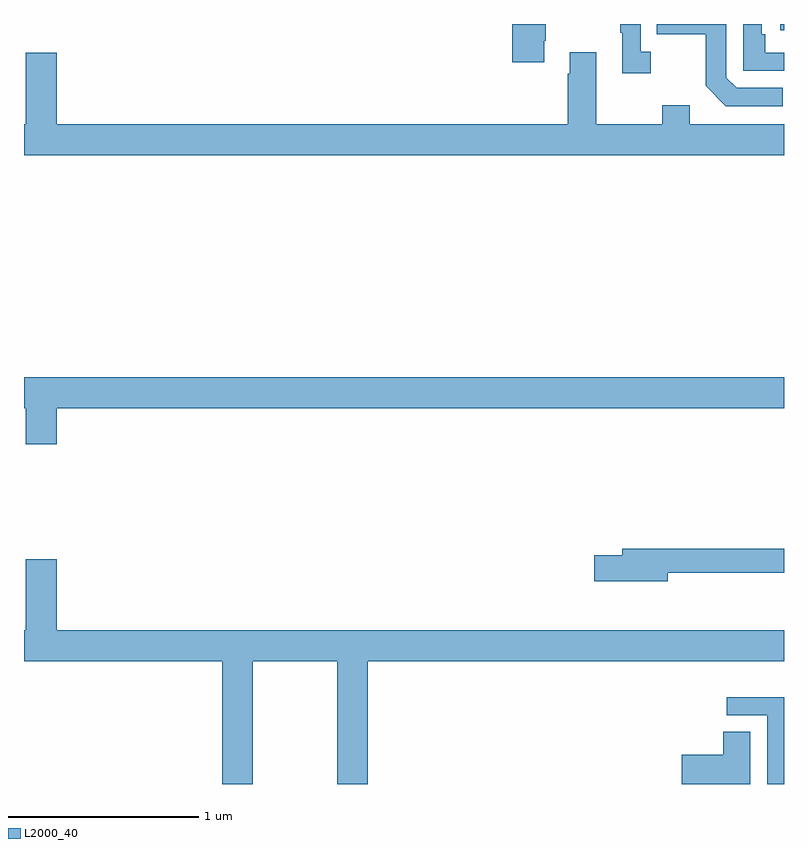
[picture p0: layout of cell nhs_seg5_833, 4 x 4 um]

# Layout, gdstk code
import gdstk
lib = gdstk.Library(unit=1e-6, precision=1e-09)
def R(c, l, rs):  # rectangles x0, y0, x1, y1
    for r in rs: c.add(gdstk.rectangle(r[:2], r[2:], *l))
def P(c, l, *ps):  # polygons
    for p in ps: c.add(gdstk.Polygon(p, *l))
L2000_40 = (2000, 40)

nhs_seg5_833 = lib.new_cell('nhs_seg5_833')
R(nhs_seg5_833, L2000_40, [(168.981,842.766,169,842.799)])
P(nhs_seg5_833, L2000_40, [(167.737,842.71),(167.745,842.71),(167.745,842.799),(167.57,842.799),(167.57,842.598),(167.737,842.598)],
  [(168.298,842.654),(168.246,842.654),(168.246,842.799),(168.138,842.799),(168.138,842.753),(168.149,842.753),(168.149,842.541),(168.298,842.541)],
  [(168.994,842.463),(168.75,842.463),(168.696,842.517),(168.696,842.799),(168.331,842.799),(168.331,842.746),(168.588,842.746),(168.588,842.473),(168.693,842.367),(168.994,842.367)],
  [(169,842.649),(168.902,842.649),(168.902,842.746),(168.882,842.746),(168.882,842.799),(168.786,842.799),(168.786,842.553),(169,842.553)],
  [(169,842.272),(168.505,842.272),(168.505,842.371),(168.358,842.371),(168.358,842.272),(168.013,842.272),(168.013,842.65),(167.873,842.65),(167.873,842.537),(167.861,842.537),(167.861,842.272),(165.172,842.272),(165.172,842.647),(165.008,842.647),(165.008,842.272),(165,842.272),(165,842.108),(169,842.108)],
  [(165.172,840.776),(169,840.776),(169,840.94),(165,840.94),(165,840.776),(165.008,840.776),(165.008,840.588),(165.172,840.588)],
  [(168.388,839.91),(169,839.91),(169,840.038),(168.149,840.038),(168.149,840.002),(168,840.002),(168,839.867),(168.388,839.867)],
  [(166.203,839.444),(166.648,839.444),(166.648,838.799),(166.808,838.799),(166.808,839.444),(169,839.444),(169,839.608),(165.172,839.608),(165.172,839.983),(165.008,839.983),(165.008,839.608),(165,839.608),(165,839.444),(166.043,839.444),(166.043,838.799),(166.203,838.799)],
  [(169,839.256),(168.699,839.256),(168.699,839.16),(168.912,839.16),(168.912,838.799),(169,838.799)],
  [(168.823,839.075),(168.68,839.075),(168.68,838.952),(168.462,838.952),(168.462,838.799),(168.823,838.799)])

lib.write_gds('nhs_seg5_833.gds')
